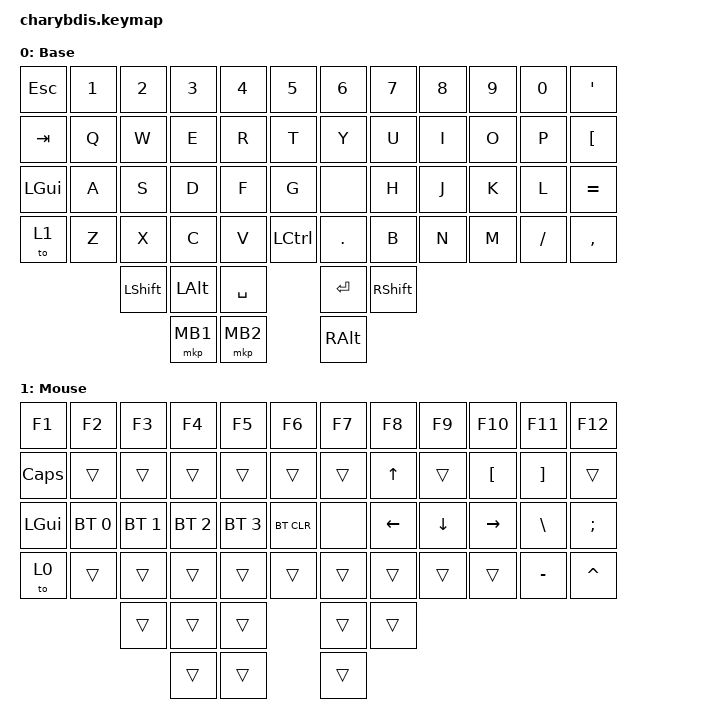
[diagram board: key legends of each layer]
/*
 * Copyright (c) 2024 The ZMK Contributors
 * SPDX-License-Identifier: MIT
 */

#include <behaviors.dtsi>
#include <dt-bindings/zmk/keys.h>
#include <dt-bindings/zmk/bt.h>
#include <dt-bindings/zmk/mouse.h>

/ {
    keymap {
        compatible = "zmk,keymap";

        base_layer {
            label = "Base";
            bindings = <
                &kp ESC  &kp N1   &kp N2   &kp N3   &kp N4   &kp N5      &kp N6   &kp N7   &kp N8   &kp N9   &kp N0   &kp SQT
                &kp TAB  &kp Q    &kp W    &kp E    &kp R    &kp T       &kp Y    &kp U    &kp I    &kp O    &kp P    &kp LBKT
                &kp LGUI &kp A    &kp S    &kp D    &kp F    &kp G       &none    &kp H    &kp J    &kp K    &kp L    &kp EQUAL
                &to 1    &kp Z    &kp X    &kp C    &kp V    &kp LCTRL   &kp DOT  &kp B    &kp N    &kp M    &kp FSLH &kp COMMA
                                  &kp LSHFT &kp LALT &kp SPACE            &kp ENTER &kp RSHFT
                                            &mkp MB1 &mkp MB2             &kp RALT
            >;
        };

        mouse_layer {
            label = "Mouse";
            bindings = <
                &kp F1   &kp F2   &kp F3   &kp F4   &kp F5   &kp F6      &kp F7   &kp F8   &kp F9   &kp F10  &kp F11  &kp F12
                &kp CAPS &trans   &trans   &trans   &trans   &trans      &trans   &kp UP   &trans   &kp LBKT &kp RBKT &trans
                &kp LGUI &bt BT_SEL 0 &bt BT_SEL 1 &bt BT_SEL 2 &bt BT_SEL 3 &bt BT_CLR   &none &kp LEFT &kp DOWN &kp RIGHT &kp BSLH &kp SEMI
                &to 0    &trans   &trans   &trans   &trans   &trans      &trans   &trans   &trans   &trans   &kp MINUS &kp CARET
                                  &trans   &trans   &trans               &trans   &trans
                                           &trans   &trans               &trans
            >;
        };
    };
};
